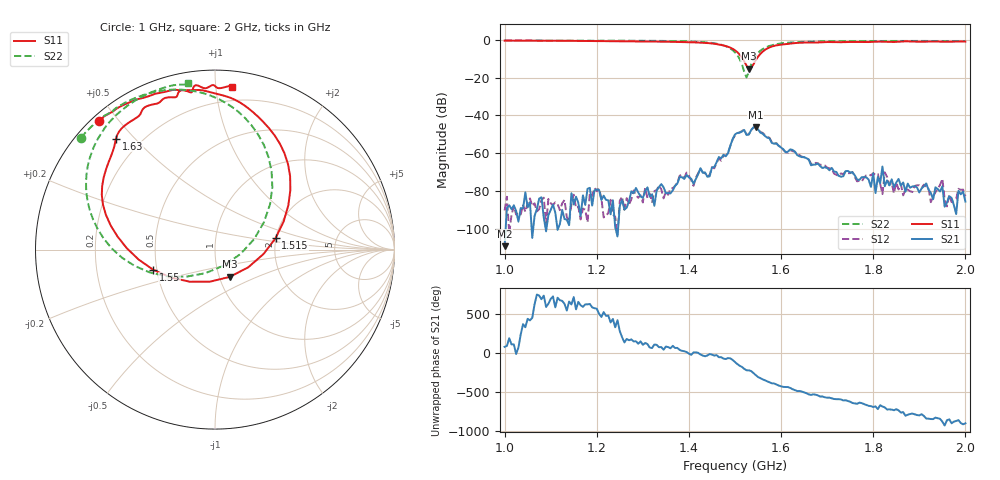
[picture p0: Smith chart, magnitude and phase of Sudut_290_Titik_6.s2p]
# Hz S RI R 50
! CMT, C1220, 16058040, 17.2.0/1
! Date: 14/08/2018 12:24:40
! Data: Format (Calibration Info)
! Freq  S11: Re/Im (F2)  S21: Re/Im (F2)  S12: Re/Im (F2)  S22: Re/Im (F2)
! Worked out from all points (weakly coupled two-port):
!   201 points, 1 GHz to 2 GHz, reference 50 ohm
!   highest |S21| = -46.11 dB at 1.545 GHz (marker M1); lowest = -109.4 dB at 1 GHz (marker M2)
!   lowest |S11| = -15.2 dB at 1.53 GHz (marker M3), VSWR 1.42, Z = 56.2 - j17.6 ohm
!   |S11| at or under -10 dB: 1.517 GHz to 1.547 GHz (30.13 MHz wide, 1.97 % of centre)
!   |S22| runs from -19.9 to -0.2 dB; largest |S21 - S12| = 0.00036
!   S11 on the Smith chart (normalised r, x): 1 GHz: 0.02, +0.44; 1.515 GHz: 1.99, +0.29; 1.55 GHz: 0.48, -0.12; 1.63 GHz: 0.11, +0.44; 2 GHz: 0.10, +1.11
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1e9  -0.6464 0.7149  6.31e-07 3.35e-06  -2.85e-05 9.76e-06  -0.7476 0.6244
1.17e9  -0.471 0.8226  -4.97e-05 -5.75e-05  -7.78e-06 -3.29e-05  -0.6112 0.7486
1.335e9  -0.2079 0.889  3.32e-05 0.000121  3.73e-05 0.000132  -0.3961 0.8624
1.425e9  0.0782 0.8486  0.000378 -0.000126  0.000371 -0.000119  -0.1141 0.8825
1.445e9  0.1595 0.8064  0.000237 -5.48e-05  0.000251 -8.32e-05  -0.00491 0.8501
1.5e9  0.4198 0.3316  -0.00129 -0.00287  -0.00123 -0.00269  0.3194 0.3472
1.515e9  0.3373 0.0636  -0.00372 -0.00025  -0.00384 -0.00035  0.2191 0.0595
1.53e9  0.0831 -0.1516  -0.00236 0.00203  -0.00234 0.00207  -0.0544 -0.1316
1.545e9  -0.2465 -0.1555  0.000868 0.00487  0.000821 0.00479  -0.3656 -0.1266
1.55e9  -0.3438 -0.1125  0.00252 0.00343  0.00242 0.0035  -0.4487 -0.0903
1.63e9  -0.5514 0.6184  -0.000427 -0.001  -0.000401 -0.00102  -0.6868 0.5419
1.67e9  -0.4323 0.738  -0.000481 -0.000116  -0.000498 -8.83e-05  -0.6188 0.6709
1.795e9  -0.2071 0.8673  9.45e-05 8.51e-05  0.000169 0.000193  -0.4244 0.8414
1.8e9  -0.2033 0.8762  0.000248 0.000154  0.000241 0.000169  -0.4175 0.8456
1.805e9  -0.1975 0.8832  6.81e-05 5.42e-05  0.000204 0.000166  -0.4104 0.8498
1.82e9  -0.1694 0.8872  0.00035 0.000272  5.43e-05 6.11e-05  -0.3899 0.8598
1.825e9  -0.1577 0.8838  0.000118 5.99e-05  0.000302 -6.85e-05  -0.3834 0.8632
1.835e9  -0.1379 0.8761  0.00014 1.88e-06  0.000143 -7.36e-06  -0.3703 0.8697
1.935e9  -0.00326 0.9143  -2.94e-05 -0.000121  -2.54e-05 -8.84e-05  -0.2313 0.9156
1.95e9  0.0133 0.9009  -0.000119 -5.5e-05  -0.000194 -7.43e-05  -0.2084 0.9187
1.955e9  0.0213 0.8991  -3.48e-05 1.53e-05  -5.8e-05 -1.38e-05  -0.2005 0.9192
2e9  0.0966 0.9069  -5.18e-05 -3.07e-06  -6.61e-05 2.86e-05  -0.1486 0.9278
